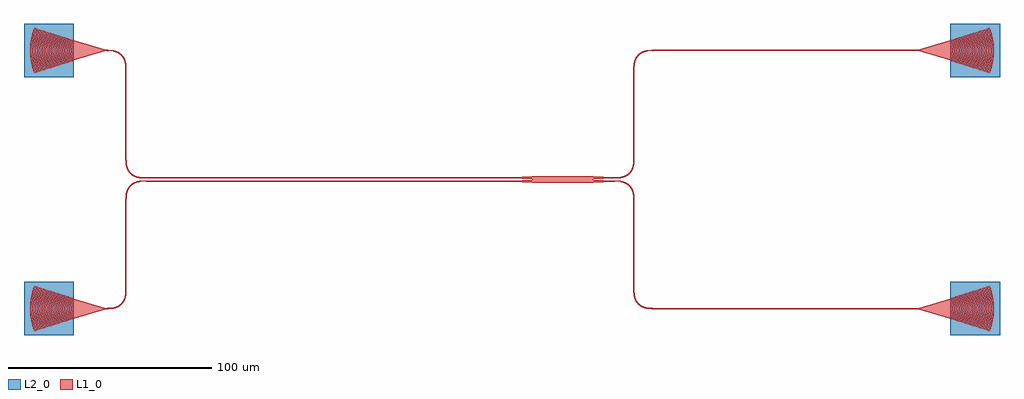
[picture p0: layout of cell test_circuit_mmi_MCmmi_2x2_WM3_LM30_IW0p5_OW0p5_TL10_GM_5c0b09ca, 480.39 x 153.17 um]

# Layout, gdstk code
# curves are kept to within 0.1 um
from math import pi, radians
import gdstk
lib = gdstk.Library(unit=1e-6, precision=1e-09)
def R(c, l, rs):  # rectangles x0, y0, x1, y1
    for r in rs: c.add(gdstk.rectangle(r[:2], r[2:], *l))
def P(c, l, *ps):  # polygons
    for p in ps: c.add(gdstk.Polygon(p, *l))
L1_0 = (1, 0)
L2_0 = (2, 0)

taper_gdsfactorypcompone = lib.new_cell('taper_gdsfactorypcomponentsptapersptaper_L10_W0p5_W1p4__3cc49f60')
P(taper_gdsfactorypcompone, L1_0, [(10,-0.7),(0,-0.25),(0,0.25),(10,0.7)])

rectangle_gdsfactorypcom = lib.new_cell('rectangle_gdsfactorypcomponentspshapesprectangle_S30_3__ad76cfbc')
R(rectangle_gdsfactorypcom, L1_0, [(0,0,30,3)])

c_taper_gdsfactorypcompone = lib.new_cell('taper_gdsfactorypcomponentsptapersptaper_L10_W1p4_W0p5__2f97c196')
P(c_taper_gdsfactorypcompone, L1_0, [(0,-0.7),(0,0.7),(10,0.25),(10,-0.25)])

mmi_2x2_wm3_lm30_iw0p5_o = lib.new_cell('mmi_2x2_WM3_LM30_IW0p5_OW0p5_TL10_GM0p2_L1_0')
mmi_2x2_wm3_lm30_iw0p5_o.add(gdstk.Reference(taper_gdsfactorypcompone, (0,-0.8)))
mmi_2x2_wm3_lm30_iw0p5_o.add(gdstk.Reference(taper_gdsfactorypcompone, (0,0.8)))
mmi_2x2_wm3_lm30_iw0p5_o.add(gdstk.Reference(rectangle_gdsfactorypcom, (10,-1.5)))
mmi_2x2_wm3_lm30_iw0p5_o.add(gdstk.Reference(c_taper_gdsfactorypcompone, (40,-0.8)))
mmi_2x2_wm3_lm30_iw0p5_o.add(gdstk.Reference(c_taper_gdsfactorypcompone, (40,0.8)))

grating_coupler_elliptic = lib.new_cell('grating_coupler_elliptical_gdsfactorypcomponentspgratin_2f9b04be')
P(grating_coupler_elliptic, L1_0, [(15.723,-4.924),(0,-0.25),(0,0.25),(15.723,4.924),(16.379,2.5),(16.6,0),(16.379,-2.5)],
  [(16.171,-5.185),(16.049,-5.019),(16.503,-3.549),(16.799,-2.042),(16.907,-1.023),(16.943,0),(16.907,1.023),(16.799,2.042),(16.503,3.549),(16.049,5.019),(16.171,5.185),(16.371,5.135),(16.699,4.14),(16.955,3.122),(17.203,1.57),(17.287,0),(17.203,-1.57),(16.955,-3.122),(16.699,-4.14),(16.371,-5.135)],
  [(16.821,-5.389),(16.699,-5.223),(17.171,-3.693),(17.44,-2.388),(17.592,-1.065),(17.629,0),(17.592,1.065),(17.44,2.388),(17.171,3.693),(16.699,5.223),(16.821,5.389),(17.021,5.339),(17.361,4.304),(17.628,3.246),(17.886,1.632),(17.973,0),(17.886,-1.632),(17.628,-3.246),(17.361,-4.304),(17.021,-5.339)],
  [(17.472,-5.592),(17.348,-5.426),(17.769,-4.105),(18.118,-2.481),(18.276,-1.106),(18.315,0),(18.276,1.106),(18.118,2.481),(17.769,4.105),(17.348,5.426),(17.472,5.592),(17.672,5.542),(18.024,4.468),(18.301,3.37),(18.569,1.694),(18.659,0),(18.569,-1.694),(18.301,-3.37),(18.024,-4.468),(17.672,-5.542)],
  [(18.122,-5.796),(17.998,-5.631),(18.508,-3.981),(18.797,-2.574),(18.961,-1.148),(19.001,0),(18.961,1.148),(18.797,2.574),(18.508,3.981),(17.998,5.631),(18.122,5.796),(18.322,5.745),(18.687,4.632),(18.973,3.493),(19.251,1.756),(19.345,0),(19.251,-1.756),(18.973,-3.493),(18.687,-4.632),(18.322,-5.745)],
  [(18.77,-5.999),(18.648,-5.833),(19.176,-4.125),(19.475,-2.667),(19.645,-1.19),(19.687,0),(19.645,1.19),(19.475,2.667),(19.176,4.125),(18.648,5.833),(18.77,5.999),(18.97,5.949),(19.35,4.796),(19.646,3.617),(19.934,1.818),(20.031,0),(19.934,-1.818),(19.646,-3.617),(19.35,-4.796),(18.97,-5.949)],
  [(19.421,-6.203),(19.297,-6.037),(19.844,-4.269),(20.154,-2.761),(20.33,-1.231),(20.373,0),(20.33,1.231),(20.154,2.761),(19.844,4.269),(19.297,6.037),(19.421,6.203),(19.621,6.153),(20.012,4.96),(20.319,3.741),(20.617,1.881),(20.717,0),(20.617,-1.881),(20.319,-3.741),(20.012,-4.96),(19.621,-6.153)],
  [(20.071,-6.406),(19.947,-6.24),(20.512,-4.413),(20.833,-2.854),(20.989,-1.59),(21.059,0),(20.989,1.59),(20.833,2.854),(20.512,4.413),(19.947,6.24),(20.071,6.406),(20.271,6.356),(20.675,5.124),(20.992,3.865),(21.3,1.943),(21.403,0),(21.3,-1.943),(20.992,-3.865),(20.675,-5.124),(20.271,-6.356)],
  [(20.721,-6.61),(20.597,-6.445),(21.18,-4.557),(21.511,-2.947),(21.699,-1.314),(21.745,0),(21.699,1.314),(21.511,2.947),(21.18,4.557),(20.597,6.445),(20.721,6.61),(20.921,6.559),(21.338,5.288),(21.665,3.988),(21.982,2.005),(22.089,0),(21.982,-2.005),(21.665,-3.988),(21.338,-5.288),(20.921,-6.559)],
  [(21.369,-6.813),(21.247,-6.647),(21.848,-4.701),(22.19,-3.04),(22.383,-1.356),(22.431,0),(22.383,1.356),(22.19,3.04),(21.848,4.701),(21.247,6.647),(21.369,6.813),(21.569,6.763),(21.686,6.439),(22.094,5.119),(22.338,4.112),(22.665,2.067),(22.775,0),(22.665,-2.067),(22.338,-4.112),(22.094,-5.119),(21.686,-6.439),(21.569,-6.763)],
  [(22.02,-7.017),(21.897,-6.851),(22.516,-4.845),(22.868,-3.133),(23.068,-1.397),(23.117,0),(23.068,1.397),(22.868,3.133),(22.516,4.845),(21.897,6.851),(22.02,7.017),(22.219,6.967),(22.339,6.632),(22.663,5.616),(23.011,4.236),(23.348,2.129),(23.461,0),(23.348,-2.129),(23.011,-4.236),(22.663,-5.616),(22.339,-6.632),(22.219,-6.967)],
  [(22.67,-7.22),(22.546,-7.054),(23.185,-4.989),(23.547,-3.226),(23.724,-1.797),(23.803,0),(23.724,1.797),(23.547,3.226),(23.185,4.989),(22.546,7.054),(22.67,7.22),(22.87,7.17),(22.992,6.826),(23.326,5.78),(23.684,4.359),(24.03,2.192),(24.147,0),(24.03,-2.192),(23.684,-4.359),(23.326,-5.78),(22.992,-6.826),(22.87,-7.17)],
  [(23.32,-7.424),(23.196,-7.259),(23.853,-5.133),(24.226,-3.319),(24.437,-1.48),(24.489,0),(24.437,1.48),(24.226,3.319),(23.853,5.133),(23.196,7.259),(23.32,7.424),(23.52,7.373),(23.766,6.663),(24.09,5.581),(24.432,4.114),(24.713,2.254),(24.833,0),(24.713,-2.254),(24.432,-4.114),(24.09,-5.581),(23.766,-6.663),(23.52,-7.373)],
  [(23.968,-7.627),(23.846,-7.461),(24.521,-5.276),(24.904,-3.412),(25.091,-1.901),(25.175,0),(25.091,1.901),(24.904,3.412),(24.521,5.276),(23.846,7.461),(23.968,7.627),(24.168,7.577),(24.423,6.846),(24.756,5.735),(25.107,4.228),(25.396,2.316),(25.519,0),(25.396,-2.316),(25.107,-4.228),(24.756,-5.735),(24.423,-6.846),(24.168,-7.577)],
  [(24.619,-7.831),(24.496,-7.665),(25.189,-5.42),(25.583,-3.505),(25.806,-1.563),(25.861,0),(25.806,1.563),(25.583,3.505),(25.189,5.42),(24.496,7.665),(24.619,7.831),(24.818,7.781),(25.079,7.031),(25.421,5.889),(25.781,4.341),(26.079,2.378),(26.205,0),(26.079,-2.378),(25.781,-4.341),(25.421,-5.889),(25.079,-7.031),(24.818,-7.781)],
  [(25.269,-8.034),(25.145,-7.868),(25.857,-5.564),(26.261,-3.598),(26.49,-1.605),(26.547,0),(26.49,1.605),(26.261,3.598),(25.857,5.564),(25.145,7.868),(25.269,8.034),(25.469,7.984),(25.736,7.215),(26.087,6.043),(26.456,4.455),(26.761,2.44),(26.891,0),(26.761,-2.44),(26.456,-4.455),(26.087,-6.043),(25.736,-7.215),(25.469,-7.984)],
  [(25.919,-8.238),(25.795,-8.073),(26.525,-5.708),(26.94,-3.691),(27.175,-1.646),(27.233,0),(27.175,1.646),(26.94,3.691),(26.525,5.708),(25.795,8.073),(25.919,8.238),(26.119,8.187),(26.392,7.398),(26.752,6.197),(27.131,4.568),(27.444,2.503),(27.577,0),(27.444,-2.503),(27.131,-4.568),(26.752,-6.197),(26.392,-7.398),(26.119,-8.187)],
  [(26.567,-8.441),(26.445,-8.275),(27.193,-5.852),(27.619,-3.784),(27.86,-1.688),(27.919,0),(27.86,1.688),(27.619,3.784),(27.193,5.852),(26.445,8.275),(26.567,8.441),(26.767,8.391),(27.049,7.582),(27.418,6.351),(27.806,4.682),(28.127,2.565),(28.263,0),(28.127,-2.565),(27.806,-4.682),(27.418,-6.351),(27.049,-7.582),(26.767,-8.391)],
  [(27.217,-8.645),(27.095,-8.479),(27.862,-5.996),(28.297,-3.877),(28.51,-2.16),(28.605,0),(28.51,2.16),(28.297,3.877),(27.862,5.996),(27.095,8.479),(27.217,8.645),(27.417,8.595),(27.706,7.766),(28.194,6.08),(28.481,4.795),(28.701,3.498),(28.852,2.19),(28.949,0),(28.852,-2.19),(28.701,-3.498),(28.481,-4.795),(28.194,-6.08),(27.706,-7.766),(27.417,-8.595)],
  [(27.868,-8.848),(27.744,-8.682),(28.171,-7.42),(28.53,-6.14),(28.976,-3.971),(29.229,-1.771),(29.291,0),(29.229,1.771),(28.976,3.971),(28.53,6.14),(28.171,7.42),(27.744,8.682),(27.868,8.848),(28.068,8.798),(28.362,7.951),(28.749,6.659),(29.156,4.909),(29.492,2.689),(29.598,1.346),(29.635,0),(29.598,-1.346),(29.492,-2.689),(29.156,-4.909),(28.749,-6.659),(28.362,-7.951),(28.068,-8.798)],
  [(28.518,-9.052),(28.394,-8.887),(28.83,-7.594),(29.198,-6.284),(29.654,-4.064),(29.913,-1.812),(29.977,0),(29.913,1.812),(29.654,4.064),(29.198,6.284),(28.83,7.594),(28.394,8.887),(28.518,9.052),(28.718,9.001),(29.019,8.135),(29.415,6.813),(29.831,5.023),(30.175,2.751),(30.283,1.378),(30.321,0),(30.283,-1.378),(30.175,-2.751),(29.831,-5.023),(29.415,-6.813),(29.019,-8.135),(28.718,-9.001)],
  [(29.166,-9.255),(29.044,-9.089),(29.49,-7.768),(29.866,-6.428),(30.333,-4.157),(30.598,-1.854),(30.663,0),(30.598,1.854),(30.333,4.157),(29.866,6.428),(29.49,7.768),(29.044,9.089),(29.166,9.255),(29.366,9.205),(29.675,8.317),(30.08,6.967),(30.506,5.136),(30.858,2.814),(30.968,1.409),(31.007,0),(30.968,-1.409),(30.858,-2.814),(30.506,-5.136),(30.08,-6.967),(29.675,-8.317),(29.366,-9.205)],
  [(29.816,-9.459),(29.694,-9.293),(30.15,-7.942),(30.534,-6.572),(31.012,-4.25),(31.282,-1.895),(31.349,0),(31.282,1.895),(31.012,4.25),(30.534,6.572),(30.15,7.942),(29.694,9.293),(29.816,9.459),(30.016,9.409),(30.332,8.501),(30.746,7.121),(31.181,5.25),(31.54,2.876),(31.654,1.44),(31.693,0),(31.654,-1.44),(31.54,-2.876),(31.181,-5.25),(30.746,-7.121),(30.332,-8.501),(30.016,-9.409)],
  [(30.467,-9.662),(30.343,-9.496),(30.81,-8.117),(31.202,-6.716),(31.69,-4.343),(31.967,-1.937),(32.035,0),(31.967,1.937),(31.69,4.343),(31.202,6.716),(30.81,8.117),(30.343,9.496),(30.467,9.662),(30.667,9.612),(30.989,8.686),(31.411,7.275),(31.856,5.363),(32.223,2.938),(32.339,1.471),(32.379,0),(32.339,-1.471),(32.223,-2.938),(31.856,-5.363),(31.411,-7.275),(30.989,-8.686),(30.667,-9.612)],
  [(31.117,-9.866),(30.994,-9.7),(31.469,-8.29),(31.871,-6.86),(32.369,-4.436),(32.612,-2.471),(32.721,0),(32.612,2.471),(32.369,4.436),(31.871,6.86),(31.469,8.29),(30.994,9.7),(31.117,9.866),(31.316,9.816),(31.645,8.869),(32.077,7.429),(32.531,5.477),(32.906,3),(33.024,1.502),(33.065,0),(33.024,-1.502),(32.906,-3),(32.531,-5.477),(32.077,-7.429),(31.645,-8.869),(31.316,-9.816)],
  [(31.765,-10.069),(31.643,-9.903),(32.129,-8.464),(32.539,-7.004),(33.047,-4.529),(33.336,-2.02),(33.407,0),(33.336,2.02),(33.047,4.529),(32.539,7.004),(32.129,8.464),(31.643,9.903),(31.765,10.069),(31.965,10.019),(32.302,9.053),(32.742,7.583),(33.206,5.59),(33.462,4.077),(33.638,2.553),(33.751,0),(33.638,-2.553),(33.462,-4.077),(33.206,-5.59),(32.742,-7.583),(32.302,-9.053),(31.965,-10.019)],
  [(32.415,-10.273),(32.293,-10.107),(32.789,-8.638),(33.207,-7.148),(33.726,-4.622),(34.02,-2.061),(34.093,0),(34.02,2.061),(33.726,4.622),(33.207,7.148),(32.789,8.638),(32.293,10.107),(32.415,10.273),(32.615,10.223),(32.958,9.237),(33.408,7.737),(33.881,5.704),(34.271,3.125),(34.394,1.564),(34.437,0),(34.394,-1.564),(34.271,-3.125),(33.881,-5.704),(33.408,-7.737),(32.958,-9.237),(32.615,-10.223)],
  [(33.066,-10.476),(32.942,-10.31),(33.449,-8.812),(33.875,-7.292),(34.405,-4.715),(34.705,-2.103),(34.779,0),(34.705,2.103),(34.405,4.715),(33.875,7.292),(33.449,8.812),(32.942,10.31),(33.066,10.476),(33.266,10.426),(33.615,9.422),(34.073,7.891),(34.556,5.817),(34.954,3.187),(35.08,1.596),(35.123,0),(35.08,-1.596),(34.954,-3.187),(34.556,-5.817),(34.073,-7.891),(33.615,-9.422),(33.266,-10.426)],
  [(33.716,-10.68),(33.593,-10.514),(34.108,-8.986),(34.543,-7.436),(35.083,-4.808),(35.347,-2.679),(35.465,0),(35.347,2.679),(35.083,4.808),(34.543,7.436),(34.108,8.986),(33.593,10.514),(33.716,10.68),(33.915,10.63),(34.436,9.088),(34.875,7.52),(35.231,5.931),(35.503,4.326),(35.689,2.709),(35.809,0),(35.689,-2.709),(35.503,-4.326),(35.231,-5.931),(34.875,-7.52),(34.436,-9.088),(33.915,-10.63)],
  [(34.364,-10.883),(34.242,-10.717),(34.768,-9.16),(35.211,-7.58),(35.762,-4.901),(36.074,-2.186),(36.151,0),(36.074,2.186),(35.762,4.901),(35.211,7.58),(34.768,9.16),(34.242,10.717),(34.364,10.883),(34.564,10.833),(35.096,9.262),(35.543,7.664),(35.906,6.044),(36.319,3.311),(36.45,1.658),(36.495,0),(36.45,-1.658),(36.319,-3.311),(35.906,-6.044),(35.543,-7.664),(35.096,-9.262),(34.564,-10.833)],
  [(35.015,-11.087),(34.891,-10.921),(35.428,-9.334),(35.879,-7.724),(36.44,-4.994),(36.759,-2.227),(36.837,0),(36.759,2.227),(36.44,4.994),(35.879,7.724),(35.428,9.334),(34.891,10.921),(35.015,11.087),(35.215,11.037),(35.756,9.436),(36.211,7.808),(36.581,6.158),(37.002,3.373),(37.135,1.689),(37.181,0),(37.135,-1.689),(37.002,-3.373),(36.581,-6.158),(36.211,-7.808),(35.756,-9.436),(35.215,-11.037)])
R(grating_coupler_elliptic, L2_0, [(15.6,-13.087,40.195,13.087)])

bend_euler_gdsfactorypco = lib.new_cell('bend_euler_gdsfactorypcomponentspbendspbend_euler_R10_A_7b9c5280')
P(bend_euler_gdsfactorypco, L1_0, [(0,-0.25),(0,0.25),(2.881,0.353),(3.952,0.52),(4.99,0.806),(6.431,1.505),(7.575,2.425),(8.495,3.569),(9.194,5.01),(9.48,6.048),(9.647,7.119),(9.75,10),(10.25,10),(10.158,7.205),(9.797,5.254),(9.457,4.312),(9.066,3.545),(8.5,2.715),(7.928,2.072),(7.285,1.5),(6.455,0.934),(5.688,0.543),(4.746,0.203),(2.795,-0.158)])

straight_gdsfactorypcomp = lib.new_cell('straight_gdsfactorypcomponentspwaveguidespstraight_L42p_188f49c5')
R(straight_gdsfactorypcomp, L1_0, [(0,-0.25,42.7,0.25)])

c_straight_gdsfactorypcomp = lib.new_cell('straight_gdsfactorypcomponentspwaveguidespstraight_L180_18c58996')
R(c_straight_gdsfactorypcomp, L1_0, [(0,-0.25,180,0.25)])

c_straight_gdsfactorypcomp_ = lib.new_cell('straight_gdsfactorypcomponentspwaveguidespstraight_L130_eae0b3d2')
R(c_straight_gdsfactorypcomp_, L1_0, [(0,-0.25,130,0.25)])

test_circuit_mmi_mcmmi_2 = lib.new_cell('test_circuit_mmi_MCmmi_2x2_WM3_LM30_IW0p5_OW0p5_TL10_GM_5c0b09ca')
test_circuit_mmi_mcmmi_2.add(gdstk.Reference(mmi_2x2_wm3_lm30_iw0p5_o, (0,63.5)))
test_circuit_mmi_mcmmi_2.add(gdstk.Reference(grating_coupler_elliptic, (-200,0), rotation=pi, x_reflection=True))
test_circuit_mmi_mcmmi_2.add(gdstk.Reference(grating_coupler_elliptic, (-200,127), rotation=pi, x_reflection=True))
test_circuit_mmi_mcmmi_2.add(gdstk.Reference(grating_coupler_elliptic, (200,0)))
test_circuit_mmi_mcmmi_2.add(gdstk.Reference(grating_coupler_elliptic, (200,127)))
test_circuit_mmi_mcmmi_2.add(gdstk.Reference(bend_euler_gdsfactorypco, (-190,10), rotation=3*pi/2, x_reflection=True))
test_circuit_mmi_mcmmi_2.add(gdstk.Reference(bend_euler_gdsfactorypco, (-180,62.7), rotation=pi))
test_circuit_mmi_mcmmi_2.add(gdstk.Reference(straight_gdsfactorypcomp, (-190,10), rotation=pi/2))
test_circuit_mmi_mcmmi_2.add(gdstk.Reference(c_straight_gdsfactorypcomp, (-180,62.7)))
test_circuit_mmi_mcmmi_2.add(gdstk.Reference(bend_euler_gdsfactorypco, (-190,117), rotation=pi/2))
test_circuit_mmi_mcmmi_2.add(gdstk.Reference(bend_euler_gdsfactorypco, (-180,64.3), rotation=pi, x_reflection=True))
test_circuit_mmi_mcmmi_2.add(gdstk.Reference(straight_gdsfactorypcomp, (-190,117), rotation=3*pi/2))
test_circuit_mmi_mcmmi_2.add(gdstk.Reference(c_straight_gdsfactorypcomp, (-180,64.3)))
test_circuit_mmi_mcmmi_2.add(gdstk.Reference(bend_euler_gdsfactorypco, (60,52.7), rotation=pi/2))
test_circuit_mmi_mcmmi_2.add(gdstk.Reference(bend_euler_gdsfactorypco, (70,0), rotation=pi, x_reflection=True))
test_circuit_mmi_mcmmi_2.add(gdstk.Reference(straight_gdsfactorypcomp, (60,52.7), rotation=3*pi/2))
test_circuit_mmi_mcmmi_2.add(gdstk.Reference(c_straight_gdsfactorypcomp_, (70,0)))
test_circuit_mmi_mcmmi_2.add(gdstk.Reference(bend_euler_gdsfactorypco, (60,74.3), rotation=3*pi/2, x_reflection=True))
test_circuit_mmi_mcmmi_2.add(gdstk.Reference(bend_euler_gdsfactorypco, (70,127), rotation=pi))
test_circuit_mmi_mcmmi_2.add(gdstk.Reference(straight_gdsfactorypcomp, (60,74.3), rotation=pi/2))
test_circuit_mmi_mcmmi_2.add(gdstk.Reference(c_straight_gdsfactorypcomp_, (70,127)))

lib.write_gds('test_circuit_mmi_MCmmi_2x2_WM3_LM30_IW0p5_OW0p5_TL10_GM_5c0b09ca.gds')
